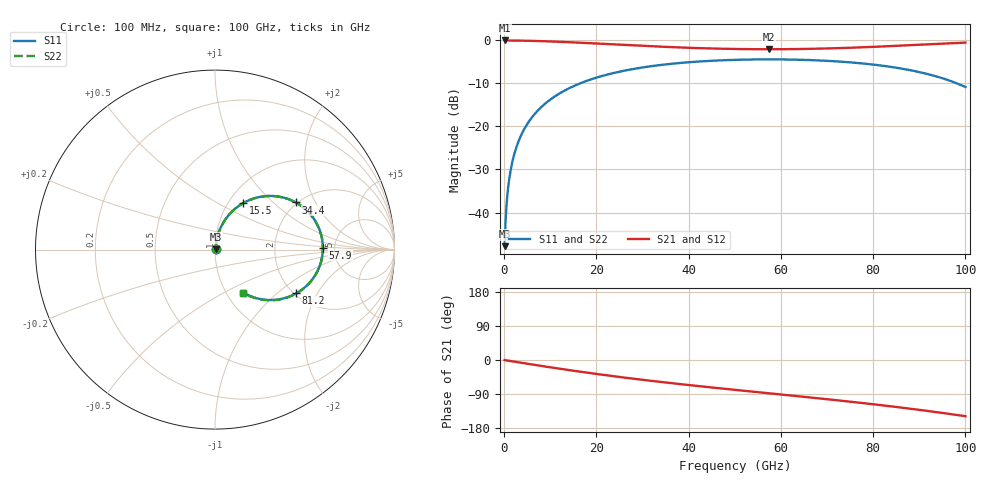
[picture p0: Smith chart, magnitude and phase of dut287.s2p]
! Touchstone file exported from HFSS 2026.1.0
!  File:  C:/ffzhzh/LocalFiles/Ansys_Project_Files/temp_train_RDL_287_1783502136_9504.aedt
!  Generated:  05:16:52 PM Jul  8, 2026
!  Design:  RDL
!  Project:  temp_train_RDL_287_1783502136_9504
! Variables:
!  h_bsmrdl = 2um
!  h_ox = 20um
!  h_rdl = 5um
!  h_sub = 80um
!  h_tmrdl = 3.19um
!  h_tsv = 80um
!  h_via = 3um
!  l_bsmrdl = 300um
!  l_sub = 908.06um
!  l_tmrdl = 508.06um
!  m_sub = 200um
!  pitch = 45.2um
!  r_tsv = 6um
!  s_tmrdl = 10um
!  w_bsmrdl = 18um
!  w_sub = 500um
!  w_tmrdl = 17.77um
!  x_tsv_center1 = 516.945um
!  x_tsv_center2 = 834.945um
!  x_tsv_center3 = 1360.775um
!  x_tsv_center4 = 1678.775um
!  x_tsv_center5 = 2204.605um
!  x_tsv_center6 = 2522.605um
# GHz S MA R 50.000000
! Terminal data exported
! Port[1] = TM_RDL1_1_T1
! Port[2] = TM_RDL1_1_T2
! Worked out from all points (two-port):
!   1000 points, 100 MHz to 100 GHz, reference 50 ohm
!   highest |S21| = -0.03 dB at 100 MHz (marker M1); lowest = -2.1 dB at 57.4 GHz (marker M2)
!   |S21| within 3 dB of the highest: start of sweep to end of sweep
!   lowest |S11| = -47.8 dB at 100 MHz (marker M3), VSWR 1.01, Z = 50.3 + j0.234 ohm
!   |S11| at or under -10 dB: start of sweep to 16.46 GHz; 98.17 GHz to end of sweep
!   |S22| runs from -47.8 to -4.4 dB; largest |S21 - S12| = 1.6e-14
!   S11 on the Smith chart (normalised r, x): 100 MHz: 1.01, +0.00; 15.5 GHz: 1.17, +0.66; 34.4 GHz: 1.96, +1.41; 57.9 GHz: 4.01, +0.13; 81.2 GHz: 2.05, -1.36; 100 GHz: 1.20, -0.63
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0.1  0.004069 34.9  0.9967 -0.2  0.9967 -0.2  0.004069 34.9
! Gamma 0 0 0 0
! Port Impedance 50 0 50 0
0.9  0.02021 76.7  0.9958 -1.8  0.9958 -1.8  0.02021 76.7
1.5  0.03288 79.6  0.9952 -3.0  0.9952 -3.0  0.03288 79.6
2.5  0.05412 80.2  0.994 -4.9  0.994 -4.9  0.05412 80.2
3.9  0.08364 78.8  0.9914 -7.7  0.9914 -7.7  0.08364 78.8
5.9  0.1249 75.7  0.9862 -11.6  0.9862 -11.6  0.1249 75.7
8.4  0.1745 71.3  0.9774 -16.3  0.9774 -16.3  0.1745 71.3
11.6  0.2343 65.7  0.9635 -22.2  0.9635 -22.2  0.2343 65.7
15.5  0.3009 59.0  0.9437 -29.1  0.9437 -29.1  0.3009 58.9
16.8  0.3215 56.8  0.9366 -31.4  0.9366 -31.4  0.3215 56.8
24.7  0.4289 44.2  0.8919 -44.3  0.8919 -44.3  0.4289 44.2
33.4  0.5133 31.7  0.8465 -57.1  0.8465 -57.1  0.5133 31.6
34.4  0.5209 30.3  0.8419 -58.5  0.8419 -58.5  0.5209 30.2
42.3  0.5678 20.0  0.8116 -69.1  0.8116 -69.1  0.5678 19.9
50.1  0.5936 10.4  0.7935 -78.9  0.7935 -78.9  0.5936 10.2
57.4  0.6012 1.6  0.788 -87.8  0.788 -87.8  0.6012 1.4
57.9  0.6012 1.0  0.788 -88.4  0.788 -88.4  0.6011 0.8
66.7  0.5887 -9.6  0.797 -99.3  0.797 -99.3  0.5887 -9.8
81.2  0.5139 -28.3  0.845 -118.4  0.845 -118.4  0.5139 -28.5
83.4  0.4955 -31.4  0.8553 -121.6  0.8553 -121.6  0.4956 -31.6
92.4  0.3983 -44.6  0.902 -135.4  0.902 -135.4  0.3983 -44.9
100  0.2872 -56.6  0.9405 -148.3  0.9405 -148.3  0.2872 -56.9
